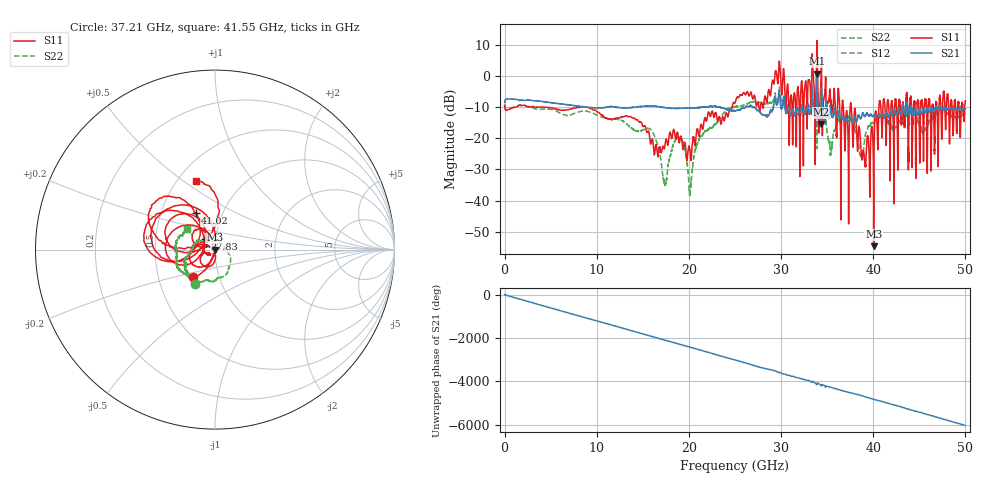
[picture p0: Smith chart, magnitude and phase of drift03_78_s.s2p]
!Created with skrf (http://scikit-rf.org).
# Hz S RI R 50.0
!freq ReS11 ImS11 ReS21 ImS21 ReS12 ImS12 ReS22 ImS22
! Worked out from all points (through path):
!   10001 points, 300 kHz to 50 GHz, reference 50 ohm
!   highest |S21| = 0.78 dB at 33.9 GHz (marker M1); lowest = -15.5 dB at 34.32 GHz (marker M2)
!   group delay of S21, straight-line fit = 335 ps
!   lowest |S11| = -54.7 dB at 40.05 GHz (marker M3), VSWR 1.00, Z = 49.8 - j0.0738 ohm
!   |S11| at or under -10 dB: 4.469 GHz to 7.955 GHz (3.485 GHz wide, 56.1 % of centre); 9.024 GHz to 24.7 GHz (15.67 GHz wide, 93 % of centre); 37.62 GHz to 40.62 GHz (2.996 GHz wide, 7.66 % of centre) (the widest 3 of 56)
!   |S22| runs from -38.4 to -5.9 dB; largest |S21 - S12| = 0.11
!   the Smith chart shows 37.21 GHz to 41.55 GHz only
!   S11 on the Smith chart (normalised r, x): 37.21 GHz: 0.74, -0.24; 37.83 GHz: 0.89, +0.11; 41.02 GHz: 0.75, +0.32; 41.55 GHz: 0.62, +0.56
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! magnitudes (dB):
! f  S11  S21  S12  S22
! 300 kHz  -9.3  -8.5  -8.5  -9.3
! 8.335 GHz  -9.9  -9.8  -9.8  -11.3
! 16.67 GHz  -25.4  -9.8  -9.8  -23.0
! 17.41 GHz  -22.3  -10.1  -10.1  -35.1
! 19.1 GHz  -19.4  -10.3  -10.3  -20.2
! 20.13 GHz  -24.6  -10.3  -10.3  -37.2
! 21.21 GHz  -17.2  -10.1  -10.1  -19.8
! 25 GHz  -8.5  -11.1  -11.1  -9.9
! 29.66 GHz  -2.3  -8.3  -8.4  -7.1
! 31.08 GHz  -6.1  -12.6  -12.7  -10.5
! 33.34 GHz  0.4  -7.5  -7.6  -9.4
! 33.9 GHz  11.5  0.8  0.4  -23.3
! 34.32 GHz  -2.9  -15.5  -14.9  -11.2
! 35.35 GHz  -7.1  -10.8  -10.3  -25.1
! 37.21 GHz  -14.0  -14.3  -14.3  -13.1
! 37.83 GHz  -21.8  -14.4  -14.4  -14.9
! 38.71 GHz  -25.6  -13.4  -13.2  -25.5
! 40.05 GHz  -54.7  -12.7  -12.8  -15.1
! 41.02 GHz  -12.8  -12.0  -12.0  -13.1
! 41.55 GHz  -8.0  -12.4  -12.3  -14.3
! 41.67 GHz  -9.4  -13.3  -13.2  -14.6
! 50 GHz  -7.9  -10.5  -10.5  -12.1
